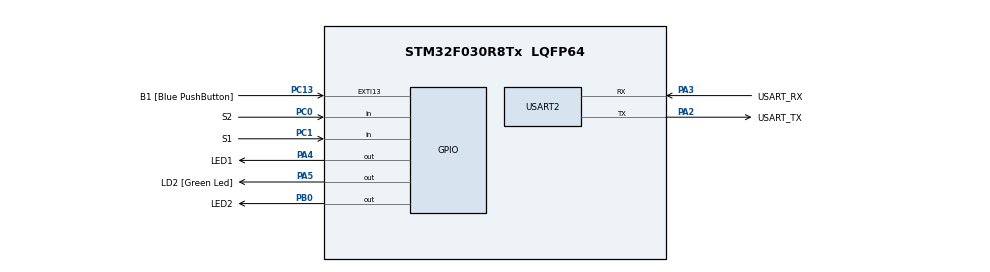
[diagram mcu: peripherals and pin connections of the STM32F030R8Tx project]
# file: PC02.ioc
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Mcu.Family=STM32F0
Mcu.Name=STM32F030R8Tx
Mcu.Package=LQFP64
PA13.GPIO_Label=TMS
PA13.Mode=Serial_Wire
PA13.Signal=SYS_SWDIO
PA14.GPIO_Label=TCK
PA14.Mode=Serial_Wire
PA14.Signal=SYS_SWCLK
PA2.GPIO_Label=USART_TX
PA2.GPIO_Mode=GPIO_MODE_AF_PP
PA2.GPIO_PuPd=GPIO_NOPULL
PA2.GPIO_Speed=GPIO_SPEED_FREQ_LOW
PA2.Mode=Asynchronous
PA2.Signal=USART2_TX
PA3.GPIO_Label=USART_RX
PA3.GPIO_Mode=GPIO_MODE_AF_PP
PA3.GPIO_PuPd=GPIO_NOPULL
PA3.GPIO_Speed=GPIO_SPEED_FREQ_LOW
PA3.Mode=Asynchronous
PA3.Signal=USART2_RX
PA4.GPIO_Label=LED1
PA4.Signal=GPIO_Output
PA5.GPIO_Label=LD2 [Green Led]
PA5.GPIO_Mode=GPIO_MODE_OUTPUT_PP
PA5.GPIO_PuPd=GPIO_NOPULL
PA5.GPIO_Speed=GPIO_SPEED_FREQ_LOW
PA5.Signal=GPIO_Output
PB0.GPIO_Label=LED2
PB0.Signal=GPIO_Output
PC0.GPIO_Label=S2
PC0.GPIO_PuPd=GPIO_PULLUP
PC0.Signal=GPIO_Input
PC1.GPIO_Label=S1
PC1.GPIO_PuPd=GPIO_PULLUP
PC1.Signal=GPIO_Input
PC13.GPIO_Label=B1 [Blue PushButton]
PC13.GPIO_ModeDefaultEXTI=GPIO_MODE_IT_FALLING
PC13.Signal=GPXTI13
PC14-OSC32_IN.Mode=LSE-External-Oscillator
PC14-OSC32_IN.Signal=RCC_OSC32_IN
PC15-OSC32_OUT.Mode=LSE-External-Oscillator
PC15-OSC32_OUT.Signal=RCC_OSC32_OUT
PF0-OSC_IN.Mode=HSE-External-Clock-Source
PF0-OSC_IN.Signal=RCC_OSC_IN
PF1-OSC_OUT.Signal=RCC_OSC_OUT
ProjectManager.HeapSize=0x200
ProjectManager.StackSize=0x400
ProjectManager.TargetToolchain=STM32CubeIDE
RCC.AHBFreq_Value=48000000
RCC.APB1Freq_Value=48000000
RCC.APB1TimFreq_Value=48000000
RCC.HCLKFreq_Value=48000000
RCC.PLLMUL=RCC_PLL_MUL12
RCC.SYSCLKFreq_VALUE=48000000
RCC.SYSCLKSource=RCC_SYSCLKSOURCE_PLLCLK
USART2.VirtualMode-Asynchronous=VM_ASYNC
board=NUCLEO-F030R8

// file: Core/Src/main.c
/* USER CODE BEGIN Header */
/**
  ******************************************************************************
  * @file           : main.c
  * @brief          : Main program body
  ******************************************************************************
  * @attention
  *
  * Copyright (c) 2025 STMicroelectronics.
  * All rights reserved.
  *
  * This software is licensed under terms that can be found in the LICENSE file
  * in the root directory of this software component.
  * If no LICENSE file comes with this software, it is provided AS-IS.
  *
  ******************************************************************************
  */
/* USER CODE END Header */
#include "main.h"

/* USER CODE BEGIN PD */
#define  LED_TIME_BLINK 300
#define  LED_TIME_LONG 1000
#define  LED_TIME_SHORT 100
#define  BTN_TIME_ON 40
#define SHIFT_DELAY    5

/* USER CODE END PD */

/* USER CODE BEGIN PV */
volatile uint32_t Tick;
/* USER CODE END PV */

void SystemClock_Config(void);
static void MX_GPIO_Init(void);
static void MX_USART2_UART_Init(void);

/* USER CODE BEGIN 0 */

void blink(void)
{
	static uint32_t delay;

	if (Tick > delay + LED_TIME_BLINK) {
		LL_GPIO_TogglePin(LED1_GPIO_Port,LED1_Pin);
		delay = Tick;
	}
}

void button(void){

	static uint32_t delay;
	static uint32_t delay_5ms;
	static uint32_t off_time;

	if(Tick > delay + BTN_TIME_ON){
		uint32_t new_s2 = LL_GPIO_IsInputPinSet(S2_GPIO_Port, S2_Pin);
		static uint32_t old_s2;

		if (old_s2 && !new_s2) { // falling edge
			off_time = Tick + LED_TIME_LONG;
			LL_GPIO_SetOutputPin(LED2_GPIO_Port, LED2_Pin);
		}
		delay = Tick;
		old_s2 = new_s2;
	}

	if (Tick > delay_5ms + SHIFT_DELAY){
		static uint16_t debounce = 0xFFFF;
		uint32_t s1 = LL_GPIO_IsInputPinSet(S1_GPIO_Port, S1_Pin);

		debounce <<= 1;
		if (s1) {
			debounce |= 0x0001;
		}

		if (debounce == 0x7FFF){
			LL_GPIO_SetOutputPin(LED2_GPIO_Port, LED2_Pin);
			off_time = Tick + LED_TIME_SHORT;
		}

		delay_5ms = Tick;
	}

	if (Tick > off_time) {
		LL_GPIO_ResetOutputPin(LED2_GPIO_Port, LED2_Pin);
	}

}

/* USER CODE END 0 */

int main(void)
{

  /* MCU Configuration--------------------------------------------------------*/

  /* Reset of all peripherals, Initializes the Flash interface and the Systick. */
  LL_APB1_GRP2_EnableClock(LL_APB1_GRP2_PERIPH_SYSCFG);
  LL_APB1_GRP1_EnableClock(LL_APB1_GRP1_PERIPH_PWR);

  /* Configure the system clock */
  SystemClock_Config();

  /* Initialize all configured peripherals */
  MX_GPIO_Init();
  MX_USART2_UART_Init();
  /* USER CODE BEGIN 2 */
  LL_SYSTICK_EnableIT();

  /* USER CODE END 2 */

  /* Infinite loop */
  while (1)
  {

    /* USER CODE BEGIN 3 */
	  blink();
	  button();

  }
  /* USER CODE END 3 */
}

void SystemClock_Config(void)
{
  LL_FLASH_SetLatency(LL_FLASH_LATENCY_1);
  while(LL_FLASH_GetLatency() != LL_FLASH_LATENCY_1)
  {
  }
  LL_RCC_HSI_Enable();

   /* Wait till HSI is ready */
  while(LL_RCC_HSI_IsReady() != 1)
  {

  }
  LL_RCC_HSI_SetCalibTrimming(16);
  LL_RCC_PLL_ConfigDomain_SYS(LL_RCC_PLLSOURCE_HSI_DIV_2, LL_RCC_PLL_MUL_12);
  LL_RCC_PLL_Enable();

   /* Wait till PLL is ready */
  while(LL_RCC_PLL_IsReady() != 1)
  {

  }
  LL_RCC_SetAHBPrescaler(LL_RCC_SYSCLK_DIV_1);
  LL_RCC_SetAPB1Prescaler(LL_RCC_APB1_DIV_1);
  LL_RCC_SetSysClkSource(LL_RCC_SYS_CLKSOURCE_PLL);

   /* Wait till System clock is ready */
  while(LL_RCC_GetSysClkSource() != LL_RCC_SYS_CLKSOURCE_STATUS_PLL)
  {

  }
  LL_Init1msTick(48000000);
  LL_SetSystemCoreClock(48000000);
}

static void MX_USART2_UART_Init(void)
{

  LL_USART_InitTypeDef USART_InitStruct = {0};

  LL_GPIO_InitTypeDef GPIO_InitStruct = {0};

  /* Peripheral clock enable */
  LL_APB1_GRP1_EnableClock(LL_APB1_GRP1_PERIPH_USART2);

  LL_AHB1_GRP1_EnableClock(LL_AHB1_GRP1_PERIPH_GPIOA);
  /**USART2 GPIO Configuration
  PA2   ------> USART2_TX
  PA3   ------> USART2_RX
  */
  GPIO_InitStruct.Pin = USART_TX_Pin;
  GPIO_InitStruct.Mode = LL_GPIO_MODE_ALTERNATE;
  GPIO_InitStruct.Speed = LL_GPIO_SPEED_FREQ_LOW;
  GPIO_InitStruct.OutputType = LL_GPIO_OUTPUT_PUSHPULL;
  GPIO_InitStruct.Pull = LL_GPIO_PULL_NO;
  GPIO_InitStruct.Alternate = LL_GPIO_AF_1;
  LL_GPIO_Init(USART_TX_GPIO_Port, &GPIO_InitStruct);

  GPIO_InitStruct.Pin = USART_RX_Pin;
  GPIO_InitStruct.Mode = LL_GPIO_MODE_ALTERNATE;
  GPIO_InitStruct.Speed = LL_GPIO_SPEED_FREQ_LOW;
  GPIO_InitStruct.OutputType = LL_GPIO_OUTPUT_PUSHPULL;
  GPIO_InitStruct.Pull = LL_GPIO_PULL_NO;
  GPIO_InitStruct.Alternate = LL_GPIO_AF_1;
  LL_GPIO_Init(USART_RX_GPIO_Port, &GPIO_InitStruct);

  USART_InitStruct.BaudRate = 38400;
  USART_InitStruct.DataWidth = LL_USART_DATAWIDTH_8B;
  USART_InitStruct.StopBits = LL_USART_STOPBITS_1;
  USART_InitStruct.Parity = LL_USART_PARITY_NONE;
  USART_InitStruct.TransferDirection = LL_USART_DIRECTION_TX_RX;
  USART_InitStruct.HardwareFlowControl = LL_USART_HWCONTROL_NONE;
  USART_InitStruct.OverSampling = LL_USART_OVERSAMPLING_16;
  LL_USART_Init(USART2, &USART_InitStruct);
  LL_USART_DisableIT_CTS(USART2);
  LL_USART_ConfigAsyncMode(USART2);
  LL_USART_Enable(USART2);

}

static void MX_GPIO_Init(void)
{
  LL_EXTI_InitTypeDef EXTI_InitStruct = {0};
  LL_GPIO_InitTypeDef GPIO_InitStruct = {0};

  /* GPIO Ports Clock Enable */
  LL_AHB1_GRP1_EnableClock(LL_AHB1_GRP1_PERIPH_GPIOC);
  LL_AHB1_GRP1_EnableClock(LL_AHB1_GRP1_PERIPH_GPIOF);
  LL_AHB1_GRP1_EnableClock(LL_AHB1_GRP1_PERIPH_GPIOA);
  LL_AHB1_GRP1_EnableClock(LL_AHB1_GRP1_PERIPH_GPIOB);

  /**/
  LL_GPIO_ResetOutputPin(LED1_GPIO_Port, LED1_Pin);

  /**/
  LL_GPIO_ResetOutputPin(LD2_GPIO_Port, LD2_Pin);

  /**/
  LL_GPIO_ResetOutputPin(LED2_GPIO_Port, LED2_Pin);

  /**/
  LL_SYSCFG_SetEXTISource(LL_SYSCFG_EXTI_PORTC, LL_SYSCFG_EXTI_LINE13);

  /**/
  LL_GPIO_SetPinPull(B1_GPIO_Port, B1_Pin, LL_GPIO_PULL_NO);

  /**/
  LL_GPIO_SetPinMode(B1_GPIO_Port, B1_Pin, LL_GPIO_MODE_INPUT);

  /**/
  EXTI_InitStruct.Line_0_31 = LL_EXTI_LINE_13;
  EXTI_InitStruct.LineCommand = ENABLE;
  EXTI_InitStruct.Mode = LL_EXTI_MODE_IT;
  EXTI_InitStruct.Trigger = LL_EXTI_TRIGGER_FALLING;
  LL_EXTI_Init(&EXTI_InitStruct);

  /**/
  GPIO_InitStruct.Pin = S2_Pin;
  GPIO_InitStruct.Mode = LL_GPIO_MODE_INPUT;
  GPIO_InitStruct.Pull = LL_GPIO_PULL_UP;
  LL_GPIO_Init(S2_GPIO_Port, &GPIO_InitStruct);

  /**/
  GPIO_InitStruct.Pin = S1_Pin;
  GPIO_InitStruct.Mode = LL_GPIO_MODE_INPUT;
  GPIO_InitStruct.Pull = LL_GPIO_PULL_UP;
  LL_GPIO_Init(S1_GPIO_Port, &GPIO_InitStruct);

  /**/
  GPIO_InitStruct.Pin = LED1_Pin;
  GPIO_InitStruct.Mode = LL_GPIO_MODE_OUTPUT;
  GPIO_InitStruct.Speed = LL_GPIO_SPEED_FREQ_LOW;
  GPIO_InitStruct.OutputType = LL_GPIO_OUTPUT_PUSHPULL;
  GPIO_InitStruct.Pull = LL_GPIO_PULL_NO;
  LL_GPIO_Init(LED1_GPIO_Port, &GPIO_InitStruct);

  /**/
  GPIO_InitStruct.Pin = LD2_Pin;
  GPIO_InitStruct.Mode = LL_GPIO_MODE_OUTPUT;
  GPIO_InitStruct.Speed = LL_GPIO_SPEED_FREQ_LOW;
  GPIO_InitStruct.OutputType = LL_GPIO_OUTPUT_PUSHPULL;
  GPIO_InitStruct.Pull = LL_GPIO_PULL_NO;
  LL_GPIO_Init(LD2_GPIO_Port, &GPIO_InitStruct);

  /**/
  GPIO_InitStruct.Pin = LED2_Pin;
  GPIO_InitStruct.Mode = LL_GPIO_MODE_OUTPUT;
  GPIO_InitStruct.Speed = LL_GPIO_SPEED_FREQ_LOW;
  GPIO_InitStruct.OutputType = LL_GPIO_OUTPUT_PUSHPULL;
  GPIO_InitStruct.Pull = LL_GPIO_PULL_NO;
  LL_GPIO_Init(LED2_GPIO_Port, &GPIO_InitStruct);

}

void Error_Handler(void)
{
  __disable_irq();
  while (1)
  {
  }
}
